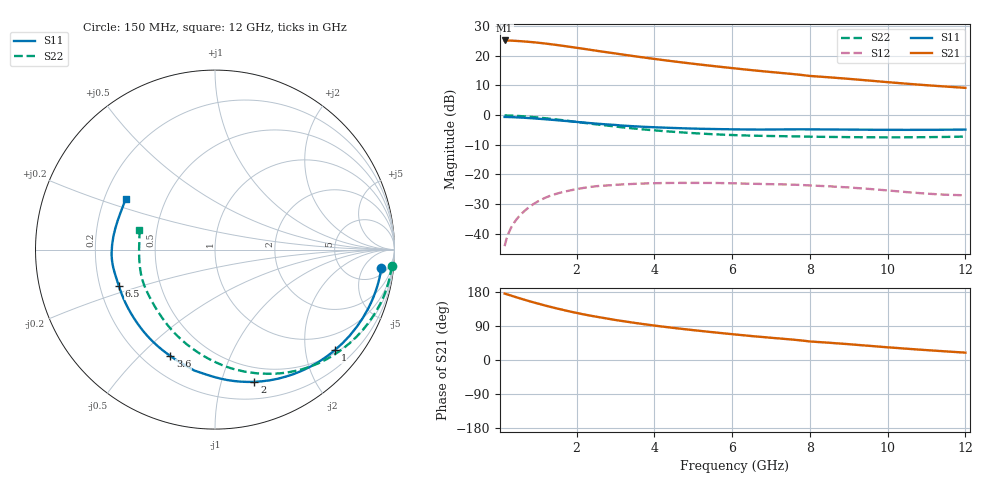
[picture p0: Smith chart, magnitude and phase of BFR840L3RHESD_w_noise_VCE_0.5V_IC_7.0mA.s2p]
! (c) 2012  Infineon Technologies AG, Munich
! Infineon Technologies  Discrete & RF Semiconductors
! BFR840L3RHESD
! VCE =  0.5 V,  IC =  7.0 mA
! Common Emitter S-Parameters:  Jun 2012
# GHz  S  MA  R  50
!  f  S11  S21  S12  S22
! GHz  MAG  ANG  MAG  ANG  MAG  ANG  MAG  ANG
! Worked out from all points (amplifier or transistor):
!   91 points, 150 MHz to 12 GHz, reference 50 ohm
!   highest |S21| = 25.2 dB at 150 MHz (marker M1)
!   |S21| within 3 dB of that: start of sweep to 2.276 GHz
!   unconditionally stable (mu >= 1): 8.849 GHz to end of sweep
!   at 1.3 GHz: K = 0.12, MSG = 25.6 dB, |S12| = -27.3 dB
!   at 4.3 GHz: K = 0.36, MSG = 20.7 dB, |S12| = -22.9 dB
!   at 12 GHz: K = 2.07, MAG = 12.2 dB, |S12| = -27.0 dB
!   lowest NFmin = 0.57 dB at 450 MHz
!   S11 on the Smith chart (normalised r, x): 150 MHz: 8, -13; 1 GHz: 0.57, -2.65; 2 GHz: 0.35, -1.28; 3.6 GHz: 0.31, -0.62; 6.5 GHz: 0.28, -0.17; 12 GHz: 0.29, +0.24
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0.15  0.9328 -6.3  18.13 175.3  0.0062 82.8  0.989 -5.4
0.3  0.9271 -12.6  18.03 170.5  0.0121 81.1  0.9832 -11.0
0.5  0.9151 -20.7  17.74 164.0  0.019 75.9  0.969 -18.2
0.8  0.8908 -32.5  17.12 154.8  0.0288 67.1  0.9378 -28.4
1  0.872 -39.9  16.63 149.1  0.035 62.1  0.9129 -35.0
1.2  0.8522 -47.1  16.08 143.6  0.0407 57.8  0.8861 -41.3
1.5  0.8213 -57.4  15.18 135.9  0.0477 52.2  0.8433 -50.3
1.8  0.7898 -67.2  14.26 128.7  0.0533 46.7  0.7987 -58.7
2  0.769 -73.4  13.65 124.3  0.0566 43.0  0.7689 -64.0
2.2  0.7488 -79.2  13.06 120.1  0.0597 39.4  0.7402 -69.0
2.6  0.712 -89.7  11.93 112.6  0.0642 33.8  0.6885 -78.3
3  0.6834 -99.8  10.95 105.6  0.0672 29.0  0.6433 -86.7
3.3  0.66 -106.4  10.24 100.9  0.0687 25.6  0.6114 -92.9
3.6  0.6429 -112.8  9.616 96.5  0.07 22.6  0.5846 -98.5
4.2  0.6179 -124.4  8.522 88.3  0.0717 17.4  0.5411 -108.9
5  0.5938 -138.1  7.343 78.8  0.0722 11.3  0.4978 -121.7
6.1  0.5761 -154.1  6.108 67.1  0.0709 4.9  0.46 -137.3
6.5  0.5727 -159.3  5.736 63.2  0.0698 3.0  0.4518 -142.6
8  0.5762 -178.4  4.574 48.9  0.0653 -4.0  0.4336 -162.4
8.5  0.5738 177.2  4.339 45.5  0.0632 -5.7  0.4296 -166.8
10.5  0.5651 159.8  3.382 29.7  0.0504 -8.3  0.4235 175.1
12  0.5714 150.6  2.883 19.4  0.0446 -0.6  0.4353 165.2
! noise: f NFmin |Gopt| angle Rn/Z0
0.45  0.57  0.44  6  0.17
0.9  0.6  0.43  11  0.17
1.9  0.64  0.45  29  0.16
3.5  0.65  0.43  48  0.15
4  0.67  0.43  57  0.15
5.5  0.7  0.44  70  0.13
7  0.78  0.42  91  0.12
8  0.84  0.4  100  0.11
10  0.96  0.36  123  0.1
12  1.12  0.32  153  0.09
